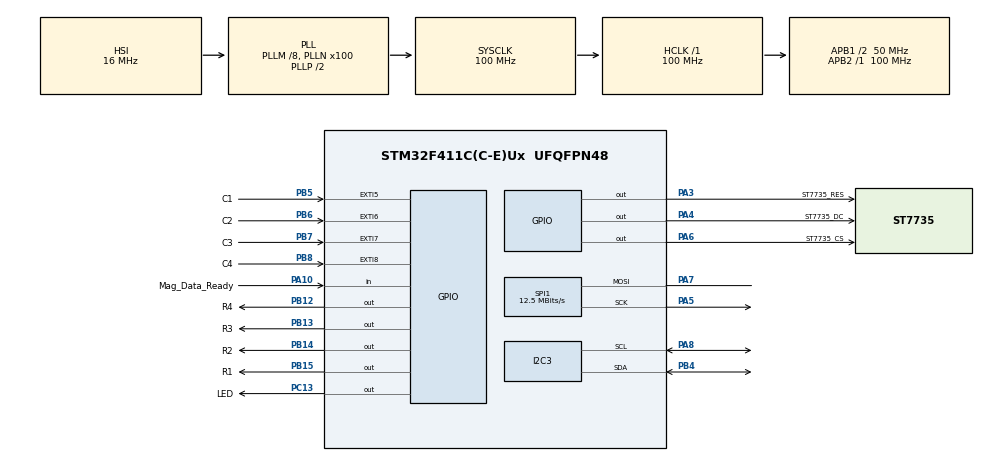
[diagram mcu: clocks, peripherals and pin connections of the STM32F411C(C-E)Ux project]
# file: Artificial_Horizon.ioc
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Mcu.Family=STM32F4
Mcu.Name=STM32F411C(C-E)Ux
Mcu.Package=UFQFPN48
NVIC.EXTI9_5_IRQn=true\:0\:0\:false\:false\:true\:true\:true\:true
NVIC.PriorityGroup=NVIC_PRIORITYGROUP_4
NVIC.TIM3_IRQn=true\:0\:0\:false\:false\:true\:true\:true\:true
PA10.GPIO_Label=Mag_Data_Ready
PA10.Signal=GPIO_Input
PA3.GPIO_Label=ST7735_RES
PA3.Signal=GPIO_Output
PA4.GPIO_Label=ST7735_DC
PA4.Signal=GPIO_Output
PA5.Mode=Simplex_Bidirectional_Master
PA5.Signal=SPI1_SCK
PA6.GPIO_Label=ST7735_CS
PA6.Signal=GPIO_Output
PA7.Mode=Simplex_Bidirectional_Master
PA7.Signal=SPI1_MOSI
PA8.Mode=I2C
PA8.Signal=I2C3_SCL
PB12.GPIO_Label=R4
PB12.GPIO_PuPd=GPIO_NOPULL
PB12.Signal=GPIO_Output
PB13.GPIO_Label=R3
PB13.GPIO_PuPd=GPIO_NOPULL
PB13.Signal=GPIO_Output
PB14.GPIO_Label=R2
PB14.GPIO_PuPd=GPIO_NOPULL
PB14.Signal=GPIO_Output
PB15.GPIO_Label=R1
PB15.GPIO_PuPd=GPIO_NOPULL
PB15.PinState=GPIO_PIN_SET
PB15.Signal=GPIO_Output
PB4.Mode=I2C
PB4.Signal=I2C3_SDA
PB5.GPIO_Label=C1
PB5.GPIO_PuPd=GPIO_PULLDOWN
PB5.Signal=GPXTI5
PB6.GPIO_Label=C2
PB6.GPIO_PuPd=GPIO_PULLDOWN
PB6.Signal=GPXTI6
PB7.GPIO_Label=C3
PB7.GPIO_PuPd=GPIO_PULLDOWN
PB7.Signal=GPXTI7
PB8.GPIO_Label=C4
PB8.GPIO_PuPd=GPIO_PULLDOWN
PB8.Signal=GPXTI8
PC13-ANTI_TAMP.GPIO_Label=LED
PC13-ANTI_TAMP.Signal=GPIO_Output
PH0\ -\ OSC_IN.Mode=HSE-External-Oscillator
PH0\ -\ OSC_IN.Signal=RCC_OSC_IN
PH1\ -\ OSC_OUT.Mode=HSE-External-Oscillator
PH1\ -\ OSC_OUT.Signal=RCC_OSC_OUT
ProjectManager.HeapSize=0x200
ProjectManager.StackSize=0x400
ProjectManager.TargetToolchain=STM32CubeIDE
RCC.48MHZClocksFreq_Value=50000000
RCC.AHBFreq_Value=100000000
RCC.APB1CLKDivider=RCC_HCLK_DIV2
RCC.APB1Freq_Value=50000000
RCC.APB1TimFreq_Value=100000000
RCC.APB2Freq_Value=100000000
RCC.APB2TimFreq_Value=100000000
RCC.CortexFreq_Value=100000000
RCC.HCLKFreq_Value=100000000
RCC.HSE_VALUE=25000000
RCC.HSI_VALUE=16000000
RCC.LSE_VALUE=32768
RCC.PLLM=8
RCC.PLLN=100
RCC.SYSCLKFreq_VALUE=100000000
RCC.SYSCLKSource=RCC_SYSCLKSOURCE_PLLCLK
RCC.VCOOutputFreq_Value=200000000
SPI1.BaudRatePrescaler=SPI_BAUDRATEPRESCALER_8
SPI1.CalculateBaudRate=12.5 MBits/s
SPI1.Direction=SPI_DIRECTION_1LINE
SPI1.Mode=SPI_MODE_MASTER
SPI1.VirtualType=VM_MASTER
TIM3.Period=9999
TIM3.Prescaler=99
VP_TIM3_VS_ClockSourceINT.Mode=Internal
board=custom

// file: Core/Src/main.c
/* USER CODE BEGIN Header */
/**
  ******************************************************************************
  * @file           : main.c
  * @brief          : Main program body
  ******************************************************************************
  * @attention
  *
  * Copyright (c) 2022 STMicroelectronics.
  * All rights reserved.
  *
  * This software is licensed under terms that can be found in the LICENSE file
  * in the root directory of this software component.
  * If no LICENSE file comes with this software, it is provided AS-IS.
  *
  ******************************************************************************
  */
/* USER CODE END Header */
#include "main.h"
#include "i2c.h"
#include "spi.h"
#include "tim.h"
#include "gpio.h"

/* USER CODE BEGIN Includes */
#include <stdio.h>
#include <string.h>
#include"QMC5883.h"
#include "st7735.h"
#include "fonts.h"
#include "testimg.h"
#include "MPU6050.h"
#include "artificial_horizon.h"
#include <math.h>
#include<stdlib.h>
#include "MY_Keypad4x4.h"
/* USER CODE END Includes */

/* USER CODE BEGIN PD */
#define h 80-height_point
#define minus_h 80+height_point
#define w 60+width_point
#define minus_w 60-width_point
/* USER CODE END PD */

/* USER CODE BEGIN PV */
char tab [4];

//magnetometer variables
QMC_t pusula_sensor;
float Compas_Value;
float 				CalibratedXaxis;
float 				CalibratedYaxis;
float 				CalibratedZaxis;
float biasaxisX = (XMAX+XMIN)/2;
float biasaxisY = (YMAX+YMIN)/2;
float biasaxisZ = (ZMAX+ZMIN)/2;

//float deltaaxisX = (XMAX-XMIN)/2;
//float deltaaxisY = (YMAX-YMIN)/2;
//float deltaaxisZ = (ZMAX-ZMIN)/2;
//
//float deltaavg = ((XMAX-XMIN) + (YMAX-YMIN) + (ZMAX-ZMIN))*0.66;

float scaleaxisX = ((((XMAX-XMIN) + (YMAX-YMIN) + (ZMAX-ZMIN))/6)/((XMAX-XMIN)/2));
float scaleaxisY = (((XMAX-XMIN) + (YMAX-YMIN) + (ZMAX-ZMIN))/6)/((YMAX-YMIN)/2);
float scaleaxisZ = (((XMAX-XMIN) + (YMAX-YMIN) + (ZMAX-ZMIN))/6)/((ZMAX-ZMIN)/2);
float Compas;
volatile float Calibrated_heading;
int Direction;
//acc/gyro variables
float Ax, Ay, Az, Gx, Gy, Gz;
float pitch_point; // od 1 do 160 na srodku ekranu punkt horyzontu w osi X
float width_point;
float height_point;
float triangle_point_w;
float triangle_point_h;
float alfay;
float alfax;

//keyboard variables

volatile uint8_t row = 0;
volatile uint8_t column = 0;
bool mySwitches[16];
uint16_t counter_button;
volatile uint8_t magnetometer_value_index;
volatile uint16_t magnetometer_value;
volatile bool heading_set = false;
uint8_t LastButton = 20;
char Keypad_keys[16] =
{
    '1',
    '2',
    '3',
    'B',
    '4',
    '5',
    '6',
    'R',
    '7',
    '8',
    '9',
    'C',
    '*',
    '0',
    '#',
    'E'
};
int calibrationData[3][2] = { { 32767, -32768 },
                              { 32767, -32768 },
                              { 32767, -32768 }  }; // Initialization added!
bool changed = false;
bool done = false;
unsigned long t = 0; // Changed from int to unsigned long!
unsigned long c = 0; // Changed from int to unsigned long!

/* USER CODE END PV */

void SystemClock_Config(void);
/* USER CODE BEGIN PFP */
void setDirectionArrow(float heading);
void drawDirectionArrow(int Direction);
void drawArrowLeft();
void drawArrowRight();

/* USER CODE END PFP */

int main(void)
{

  /* MCU Configuration--------------------------------------------------------*/

  /* Reset of all peripherals, Initializes the Flash interface and the Systick. */
  HAL_Init();

  /* Configure the system clock */
  SystemClock_Config();

  /* Initialize all configured peripherals */
  MX_GPIO_Init();
  MX_SPI1_Init();
  MX_I2C3_Init();
  MX_TIM3_Init();
  /* USER CODE BEGIN 2 */

  ST7735_Init();
  QMC_init(&pusula_sensor, &hi2c3, 200);
  HAL_Delay(1000);
  MPU6050_Init();
  ST7735_FillScreen(ST7735_BLACK);
  ST7735_FillRectangleFast(0, 0, 128, 80, ST7735_BLUE);
  ST7735_FillRectangleFast(0, 80, 128, 80, ST7735_BROWN);
  HAL_Delay(1000);
  HAL_TIM_Base_Start_IT(&htim3);

//KALIBRACJA MAGNETOMETRU
//  while(!done){
// 	  c = HAL_GetTick();
// 	  int x, y, z;
// 	  if(HAL_GPIO_ReadPin(Mag_Data_Ready_GPIO_Port, Mag_Data_Ready_Pin) == GPIO_PIN_SET){
// 	  		  if(QMC_read(&pusula_sensor)==0 )
// 	  			{
// 	  				HAL_GPIO_WritePin(LED_GPIO_Port, LED_Pin, GPIO_PIN_SET);
//
// 	  				 x = pusula_sensor.Xaxis;
// 	  				 y = pusula_sensor.Yaxis;
// 	  				 z = pusula_sensor.Zaxis;
// 	  				 changed = false;
// 	  				if(x < calibrationData[0][0]) {
// 	  				    calibrationData[0][0] = x;
// 	  				    changed = true;
// 	  				  }
// 	  				  if(x > calibrationData[0][1]) {
// 	  				    calibrationData[0][1] = x;
// 	  				    changed = true;
// 	  				  }
//
// 	  				  if(y < calibrationData[1][0]) {
// 	  				    calibrationData[1][0] = y;
// 	  				    changed = true;
// 	  				  }
// 	  				  if(y > calibrationData[1][1]) {
// 	  				    calibrationData[1][1] = y;
// 	  				    changed = true;
// 	  				  }
//
// 	  				  if(z < calibrationData[2][0]) {
// 	  				    calibrationData[2][0] = z;
// 	  				    changed = true;
// 	  				  }
// 	  				  if(z > calibrationData[2][1]) {
// 	  				    calibrationData[2][1] = z;
// 	  				    changed = true;
// 	  				  }
// 	  				 if (changed && !done) {
// 	  				    c = HAL_GetTick();
// 	  				  }
// 	  				    t = HAL_GetTick();
// 	  				  if ( (t - c > 10000) && !done) {
// 	  				      done = true;
// 	  				//sprintf(tab ,"kat %f\n X %d\n Y %d\n Z %d\n"  , pusula_sensor.heading,pusula_sensor.Xaxis,pusula_sensor.Yaxis,pusula_sensor.Zaxis);
// 	  			}
// 	  			else
// 	  			{
// 	  				HAL_GPIO_WritePin(LED_GPIO_Port, LED_Pin, GPIO_PIN_RESET);
// 	  			}
// 	  	  }
//   }
//  }
//KONIEC KALIBRACJI MAGNETOMETRU
  /* USER CODE END 2 */

  /* Infinite loop */
  /* USER CODE BEGIN WHILE */
  while (1)
  {

	  ST7735_DrawLine((60+width_point),80-height_point,60-width_point,80+height_point, ST7735_BLACK); //narysowac samolocik w stosunku do wyznaczonych punktow na okregu
		  ST7735_DrawLine((60+width_point),80-height_point,60-width_point,80+height_point, ST7735_BLACK); //narysowac samolocik w stosunku do wyznaczonych punktow na okregu
		  ST7735_DrawLine(60-triangle_point_w, 80+triangle_point_h, w/5,h/5, ST7735_BLACK);
		  ST7735_DrawLine(60-triangle_point_w, 80+triangle_point_h, minus_w/5,minus_h/5, ST7735_BLACK);
//	  HAL_GPIO_TogglePin(LED_GPIO_Port, LED_Pin);
//	  HAL_Delay(1000);
		  for(uint8_t i=0; i<16;i++){

		  	  		if(mySwitches[i]){
		  	  			if(Keypad_keys[i] == 82){
		  	  				heading_set = false;
		  	  				mySwitches[i]=false;
		  	  				continue;
		  	  			}
		  	  			if(!heading_set){
		  	  			if(LastButton == i){
		  	  				  if(counter_button > 7){
		  	  				  		LastButton = i;
		  	  				  		counter_button = 0;
		  	  				  		if ( Keypad_keys[i] == 66){
		  	  				  			if(magnetometer_value_index!= 0){
		  	  				  		  		tab[magnetometer_value_index-1] =0;
		  	  				  			  	mySwitches[i]=false;
		  	  				  			  	magnetometer_value_index--;
		  	  				  			  	ST7735_FillRectangleFast(0, 0, 128, 30, ST7735_BLUE);

		  	  				  			}
		  	  				  		}
		  	  				  		else{
		  	  				  			tab[magnetometer_value_index] = Keypad_keys[i];
		  	  				  			magnetometer_value_index++;
		  	  				  		//ST7735_WriteString(0, 0, tab, Font_11x18, ST7735_WHITE, ST7735_BLACK);

		  	  				  			mySwitches[i]=false;
		  	  				  		}
		  	  				  		}
		  	  				  		counter_button++;
		  	  					  	mySwitches[i]=false;
		  	  				  		}

		  	  				  	else{
		  	  				  		LastButton = i;
		  	  				  		counter_button = 0;
		  	  				  		if (Keypad_keys[i] == 66 ){
		  	  				  			if(magnetometer_value_index!= 0){
		  	  				  				tab[magnetometer_value_index-1] =0;
		  	  				  				mySwitches[i]=false;
		  	  				  				magnetometer_value_index--;
		  	  				  			  	ST7735_FillRectangleFast(0, 0, 128, 30, ST7735_BLUE);

		  	  				  			}
		  	  				  		}
		  	  				  		else{
		  	  				  			tab[magnetometer_value_index]= Keypad_keys[i];
		  	  							magnetometer_value_index++;
		  	  				  			mySwitches[i]=false;
		  	  				  		}
		  	  				  		}
		  	  				  	if( magnetometer_value_index == 4){
		  	  				  		if((tab[3]== 69) & (tab[0] >= 48) & (tab[0]<=57)
		  	  				  				       & (tab[1] >= 48) & (tab[1]<=57)
		  										   & (tab[2] >= 48) & (tab[2]<=57)){

		  	  				  			uint16_t magnetometer_value_temp = 100*(tab[0]-48)+10*(tab[1]-48)+(tab[2]-48);
		  	  				  			if((magnetometer_value_temp<=360)& (magnetometer_value_temp >=0)){
		  	  				  				magnetometer_value = magnetometer_value_temp;
		  	  				  				heading_set = true;
		  	  				  			}

		  	  				  		}

		  	  				  		for (uint8_t z = 0; z<4; z++){
		  	  				  			tab[z]=0;
		  	  				  			}
		  	  				  		magnetometer_value_index=0;
  	  				  			  	ST7735_FillRectangleFast(0, 0, 128, 30, ST7735_BLUE);
		  	  				  		}
		  	  		  			ST7735_WriteString(0, 0, tab, Font_11x18, ST7735_WHITE, ST7735_BLACK);

		  	  				  	}
		  	  			else if(heading_set){
		  			  		mySwitches[i]=false;

		  	  			}
		  	  		}

		  	  	}
if(heading_set){
	  if(HAL_GPIO_ReadPin(Mag_Data_Ready_GPIO_Port, Mag_Data_Ready_Pin) == GPIO_PIN_SET){
		  if(QMC_read(&pusula_sensor)==0 )
			{
				HAL_GPIO_WritePin(LED_GPIO_Port, LED_Pin, GPIO_PIN_SET);
				Compas_Value=pusula_sensor.heading;
				//sprintf(tab ,"kat %f\n X %d\n Y %d\n Z %d\n"  , pusula_sensor.heading,pusula_sensor.Xaxis,pusula_sensor.Yaxis,pusula_sensor.Zaxis);
				CalibratedXaxis = scaleaxisX*((float)pusula_sensor.Xaxis - biasaxisX);
				CalibratedYaxis = scaleaxisY*((float)pusula_sensor.Yaxis - biasaxisY);
				CalibratedZaxis = scaleaxisZ*((float)pusula_sensor.Zaxis - biasaxisZ);
				Compas = atan2f(CalibratedYaxis,CalibratedXaxis)*180.00/M_PI;

						  if(Compas>0)
						  {
							  Calibrated_heading= Compas;
						  }
						  else
						  {
							  Calibrated_heading=360+Compas;
						  }

				ST7735_WriteString(0, 0, tab, Font_11x18, ST7735_WHITE, ST7735_BLACK);
			}
			else
			{
				HAL_GPIO_WritePin(LED_GPIO_Port, LED_Pin, GPIO_PIN_RESET);
			}
	  }

	  MPU6050_Read_Accel();
	  MPU6050_Read_Gyro();
	  setBankLine(Az, Ay);
	  setPitchAngle(Ax, Az);
	  setPitchPoint(alfax);
	  ST7735_FillRectangleFast(0, 0, 128, 160-pitch_point, ST7735_BLUE);
	  ST7735_FillRectangleFast(0, 160-pitch_point, 128, pitch_point, ST7735_BROWN);
	  ST7735_DrawLine((60+width_point),80-height_point,60-width_point,80+height_point, ST7735_BLACK); //narysowac samolocik w stosunku do wyznaczonych punktow na okregu
	  ST7735_DrawLine((60+width_point),80-height_point,60-width_point,80+height_point, ST7735_BLACK); //narysowac samolocik w stosunku do wyznaczonych punktow na okregu
	  ST7735_DrawLine(60-triangle_point_w, 80+triangle_point_h, w/5,h/5, ST7735_BLACK);
	  ST7735_DrawLine(60-triangle_point_w, 80+triangle_point_h, minus_w/5,minus_h/5, ST7735_BLACK);
	  ST7735_DrawLine((60+width_point),80-height_point,60-width_point,80+height_point, ST7735_BLACK); //narysowac samolocik w stosunku do wyznaczonych punktow na okregu
		  ST7735_DrawLine((60+width_point),80-height_point,60-width_point,80+height_point, ST7735_BLACK); //narysowac samolocik w stosunku do wyznaczonych punktow na okregu
		  ST7735_DrawLine(60-triangle_point_w, 80+triangle_point_h, w/5,h/5, ST7735_BLACK);
		  ST7735_DrawLine(60-triangle_point_w, 80+triangle_point_h, minus_w/5,minus_h/5, ST7735_BLACK);
		  ST7735_DrawLine((60+width_point),80-height_point,60-width_point,80+height_point, ST7735_BLACK); //narysowac samolocik w stosunku do wyznaczonych punktow na okregu
			  ST7735_DrawLine((60+width_point),80-height_point,60-width_point,80+height_point, ST7735_BLACK); //narysowac samolocik w stosunku do wyznaczonych punktow na okregu
			  ST7735_DrawLine(60-triangle_point_w, 80+triangle_point_h, w/5,h/5, ST7735_BLACK);
			  ST7735_DrawLine(60-triangle_point_w, 80+triangle_point_h, minus_w/5,minus_h/5, ST7735_BLACK);
			  ST7735_DrawLine((60+width_point),80-height_point,60-width_point,80+height_point, ST7735_BLACK); //narysowac samolocik w stosunku do wyznaczonych punktow na okregu
				  ST7735_DrawLine((60+width_point),80-height_point,60-width_point,80+height_point, ST7735_BLACK); //narysowac samolocik w stosunku do wyznaczonych punktow na okregu
				  ST7735_DrawLine(60-triangle_point_w, 80+triangle_point_h, w/5,h/5, ST7735_BLACK);
				  ST7735_DrawLine(60-triangle_point_w, 80+triangle_point_h, minus_w/5,minus_h/5, ST7735_BLACK);
	setDirectionArrow(Calibrated_heading);
	drawDirectionArrow(Direction);
	drawDirectionArrow(Direction);
	drawDirectionArrow(Direction);
    /* USER CODE END WHILE */

		}
  }
}

void SystemClock_Config(void)
{
  RCC_OscInitTypeDef RCC_OscInitStruct = {0};
  RCC_ClkInitTypeDef RCC_ClkInitStruct = {0};

  /** Configure the main internal regulator output voltage
  */
  __HAL_RCC_PWR_CLK_ENABLE();
  __HAL_PWR_VOLTAGESCALING_CONFIG(PWR_REGULATOR_VOLTAGE_SCALE1);

  /** Initializes the RCC Oscillators according to the specified parameters
  * in the RCC_OscInitTypeDef structure.
  */
  RCC_OscInitStruct.OscillatorType = RCC_OSCILLATORTYPE_HSI;
  RCC_OscInitStruct.HSIState = RCC_HSI_ON;
  RCC_OscInitStruct.HSICalibrationValue = RCC_HSICALIBRATION_DEFAULT;
  RCC_OscInitStruct.PLL.PLLState = RCC_PLL_ON;
  RCC_OscInitStruct.PLL.PLLSource = RCC_PLLSOURCE_HSI;
  RCC_OscInitStruct.PLL.PLLM = 8;
  RCC_OscInitStruct.PLL.PLLN = 100;
  RCC_OscInitStruct.PLL.PLLP = RCC_PLLP_DIV2;
  RCC_OscInitStruct.PLL.PLLQ = 4;
  if (HAL_RCC_OscConfig(&RCC_OscInitStruct) != HAL_OK)
  {
    Error_Handler();
  }

  /** Initializes the CPU, AHB and APB buses clocks
  */
  RCC_ClkInitStruct.ClockType = RCC_CLOCKTYPE_HCLK|RCC_CLOCKTYPE_SYSCLK
                              |RCC_CLOCKTYPE_PCLK1|RCC_CLOCKTYPE_PCLK2;
  RCC_ClkInitStruct.SYSCLKSource = RCC_SYSCLKSOURCE_PLLCLK;
  RCC_ClkInitStruct.AHBCLKDivider = RCC_SYSCLK_DIV1;
  RCC_ClkInitStruct.APB1CLKDivider = RCC_HCLK_DIV2;
  RCC_ClkInitStruct.APB2CLKDivider = RCC_HCLK_DIV1;

  if (HAL_RCC_ClockConfig(&RCC_ClkInitStruct, FLASH_LATENCY_3) != HAL_OK)
  {
    Error_Handler();
  }
}

/* USER CODE BEGIN 4 */
void setDirectionArrow(float heading){
if(magnetometer_value >=5){
	if(heading < magnetometer_value-5){
			Direction = 1; // strzalka w prawo
		}
		else if (heading > magnetometer_value+5){
			Direction = -1; // strzalka w lewo
		}
		else
			Direction = 0; // nie rysuj strzalki jak jest +-5 stopni od kierunku
		if( abs(heading - magnetometer_value) >180){
			Direction = -Direction;
		}
}

}
void drawDirectionArrow(int Direction){
	switch(Direction){
		case 0:
			break;
		case 1: drawArrowRight();
			break;
		case -1: drawArrowLeft();
			break;
	}
}
void drawArrowRight(){
	ST7735_DrawLine(80, 20, 110, 20, ST7735_RED);
	ST7735_DrawLine(110, 20,95 , 10, ST7735_RED);
	ST7735_DrawLine(110, 20,95, 30, ST7735_RED);

}
void drawArrowLeft(){
	ST7735_DrawLine(80, 20, 110, 20, ST7735_RED);
	ST7735_DrawLine(80, 20,95,10, ST7735_RED);
	ST7735_DrawLine(80, 20,95,30, ST7735_RED);

}

void HAL_TIM_PeriodElapsedCallback(TIM_HandleTypeDef *htim){
	if(htim -> Instance == TIM3){
		if(HAL_GPIO_ReadPin(R1_GPIO_Port, R1_Pin)){ ///pb5 1 wiersz
			HAL_GPIO_WritePin(R1_GPIO_Port, R1_Pin, GPIO_PIN_RESET);
			HAL_GPIO_WritePin(R2_GPIO_Port, R2_Pin, GPIO_PIN_SET);
			row = 1;
		}
		else if(HAL_GPIO_ReadPin(R2_GPIO_Port, R2_Pin)){
			HAL_GPIO_WritePin(R2_GPIO_Port, R2_Pin, GPIO_PIN_RESET);
			HAL_GPIO_WritePin(R3_GPIO_Port, R3_Pin, GPIO_PIN_SET);
			row = 2;
		}
		else if(HAL_GPIO_ReadPin(R3_GPIO_Port, R3_Pin)){
			HAL_GPIO_WritePin(R3_GPIO_Port, R3_Pin, GPIO_PIN_RESET);
			HAL_GPIO_WritePin(R4_GPIO_Port, R4_Pin, GPIO_PIN_SET);
			row = 3;
		}
		else {
			HAL_GPIO_WritePin(R4_GPIO_Port, R4_Pin, GPIO_PIN_RESET);
			HAL_GPIO_WritePin(R1_GPIO_Port, R1_Pin, GPIO_PIN_SET);
			row = 0;
		}
	}
}

void HAL_GPIO_EXTI_Callback(uint16_t GPIO_Pin){
	if(GPIO_Pin == C1_Pin){
		column = 0;
		switch(row){
			case 0 : mySwitches[column] = true; break;
			case 1 : mySwitches[4+column] = true; break;
			case 2 : mySwitches[8+column] = true; break;
			case 3 : mySwitches[12+column] = true; break;
		}
	}
	else if(GPIO_Pin == C2_Pin){
		column = 1;
		switch(row){
			case 0 : mySwitches[column] = true; break;
			case 1 : mySwitches[4+column] = true; break;
			case 2 : mySwitches[8+column] = true; break;
			case 3 : mySwitches[12+column] = true; break;
		}
	}
	else if(GPIO_Pin == C3_Pin){
		column = 2;
		switch(row){
			case 0 : mySwitches[column] = true; break;
			case 1 : mySwitches[4+column] = true; break;
			case 2 : mySwitches[8+column] = true; break;
			case 3 : mySwitches[12+column] = true; break;
		}
	}
	else if (GPIO_Pin == C4_Pin){
		column = 3;
		switch(row){
			case 0 : mySwitches[column] = true; break;
			case 1 : mySwitches[4+column] = true; break;
			case 2 : mySwitches[8+column] = true; break;
			case 3 : mySwitches[12+column] = true; break;
		}
	}

}

/* USER CODE END 4 */

void Error_Handler(void)
{
  __disable_irq();
  while (1)
  {
  }
}
